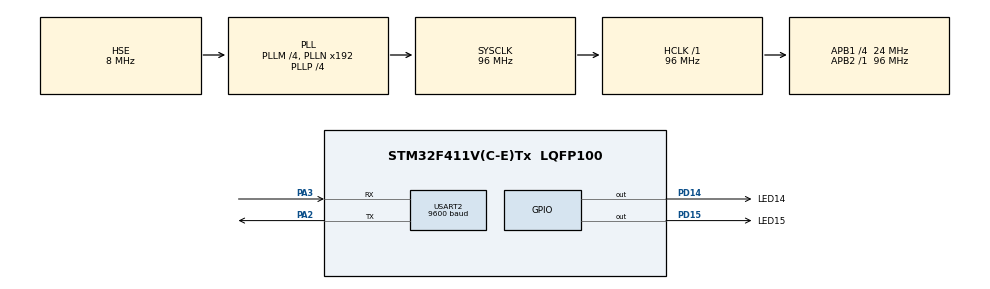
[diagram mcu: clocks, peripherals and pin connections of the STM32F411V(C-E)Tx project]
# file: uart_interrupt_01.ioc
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Mcu.Family=STM32F4
Mcu.Name=STM32F411V(C-E)Tx
Mcu.Package=LQFP100
NVIC.PriorityGroup=NVIC_PRIORITYGROUP_0
PA2.Mode=Asynchronous
PA2.Signal=USART2_TX
PA3.Mode=Asynchronous
PA3.Signal=USART2_RX
PD14.GPIO_Label=LED14
PD14.Signal=GPIO_Output
PD15.GPIO_Label=LED15
PD15.Signal=GPIO_Output
PH0\ -\ OSC_IN.Mode=HSE-External-Oscillator
PH0\ -\ OSC_IN.Signal=RCC_OSC_IN
PH1\ -\ OSC_OUT.Mode=HSE-External-Oscillator
PH1\ -\ OSC_OUT.Signal=RCC_OSC_OUT
ProjectManager.HeapSize=0x200
ProjectManager.StackSize=0x400
ProjectManager.TargetToolchain=STM32CubeIDE
RCC.48MHZClocksFreq_Value=48000000
RCC.AHBFreq_Value=96000000
RCC.APB1CLKDivider=RCC_HCLK_DIV4
RCC.APB1Freq_Value=24000000
RCC.APB1TimFreq_Value=48000000
RCC.APB2Freq_Value=96000000
RCC.APB2TimFreq_Value=96000000
RCC.CortexFreq_Value=96000000
RCC.HCLKFreq_Value=96000000
RCC.HSE_VALUE=8000000
RCC.HSI_VALUE=16000000
RCC.LSE_VALUE=32768
RCC.PLLI2SM=5
RCC.PLLI2SN=200
RCC.PLLM=4
RCC.PLLP=RCC_PLLP_DIV4
RCC.PLLQ=8
RCC.PLLSourceVirtual=RCC_PLLSOURCE_HSE
RCC.SYSCLKFreq_VALUE=96000000
RCC.SYSCLKSource=RCC_SYSCLKSOURCE_PLLCLK
RCC.VCOOutputFreq_Value=384000000
USART2.BaudRate=9600
USART2.VirtualMode=VM_ASYNC
board=STM32F411E-DISCO

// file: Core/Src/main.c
/* USER CODE BEGIN Header */
/**
  ******************************************************************************
  * @file           : main.c
  * @brief          : Main program body
  ******************************************************************************
  * @attention
  *
  * Copyright (c) 2024 STMicroelectronics.
  * All rights reserved.
  *
  * This software is licensed under terms that can be found in the LICENSE file
  * in the root directory of this software component.
  * If no LICENSE file comes with this software, it is provided AS-IS.
  *
  ******************************************************************************
  */
/* USER CODE END Header */
#include "main.h"

/* USER CODE BEGIN PD */
#define BUFFER_SIZE 256
/* USER CODE END PD */

UART_HandleTypeDef huart2;

/* USER CODE BEGIN PV */
uint32_t data_rx=0;
uint32_t rx_data = 0;
uint32_t array5[5];
uint8_t control=0;
uint8_t lenght=0;
uint32_t show1=0;
char name='R';
uint32_t gelen_data = 0;
uint32_t data_14 = 0;
uint32_t data_TXE=1;

/* USER CODE END PV */

void SystemClock_Config(void);
static void MX_GPIO_Init(void);
static void MX_USART2_UART_Init(void);

int main(void)
{

  /* MCU Configuration--------------------------------------------------------*/

  /* Reset of all peripherals, Initializes the Flash interface and the Systick. */
  HAL_Init();

  /* Configure the system clock */
  SystemClock_Config();

  /* Initialize all configured peripherals */
  MX_GPIO_Init();
  MX_USART2_UART_Init();
  /* USER CODE BEGIN 2 */

  /* 4- Enable UART Receive Data Register Not Empty */
   //SET_BIT(USART2->CR1, USART_CR1_RXNEIE);
   USART2->CR1 |= USART_CR1_RXNEIE;

   SET_BIT(USART2->CR1, USART_CR1_TXEIE);

   /* 5 - Enable UART Interrupt in NVIC */

    HAL_NVIC_SetPriority(USART2_IRQn, 0, 0);
    HAL_NVIC_EnableIRQ(USART2_IRQn);

  /* USER CODE END 2 */

  /* Infinite loop */
  while (1)
  {

    /* USER CODE BEGIN 3 */
	  //USART2->DR='G';
	  //HAL_Delay(1000);

	 //data_rx = USART2->DR;

	  //HAL_GPIO_WritePin(LED15_GPIO_Port,LED15_Pin, GPIO_PIN_SET);
  }
  /* USER CODE END 3 */
}

void SystemClock_Config(void)
{
  RCC_OscInitTypeDef RCC_OscInitStruct = {0};
  RCC_ClkInitTypeDef RCC_ClkInitStruct = {0};

  /** Configure the main internal regulator output voltage
  */
  __HAL_RCC_PWR_CLK_ENABLE();
  __HAL_PWR_VOLTAGESCALING_CONFIG(PWR_REGULATOR_VOLTAGE_SCALE1);

  /** Initializes the RCC Oscillators according to the specified parameters
  * in the RCC_OscInitTypeDef structure.
  */
  RCC_OscInitStruct.OscillatorType = RCC_OSCILLATORTYPE_HSE;
  RCC_OscInitStruct.HSEState = RCC_HSE_ON;
  RCC_OscInitStruct.PLL.PLLState = RCC_PLL_ON;
  RCC_OscInitStruct.PLL.PLLSource = RCC_PLLSOURCE_HSE;
  RCC_OscInitStruct.PLL.PLLM = 4;
  RCC_OscInitStruct.PLL.PLLN = 192;
  RCC_OscInitStruct.PLL.PLLP = RCC_PLLP_DIV4;
  RCC_OscInitStruct.PLL.PLLQ = 8;
  if (HAL_RCC_OscConfig(&RCC_OscInitStruct) != HAL_OK)
  {
    Error_Handler();
  }

  /** Initializes the CPU, AHB and APB buses clocks
  */
  RCC_ClkInitStruct.ClockType = RCC_CLOCKTYPE_HCLK|RCC_CLOCKTYPE_SYSCLK
                              |RCC_CLOCKTYPE_PCLK1|RCC_CLOCKTYPE_PCLK2;
  RCC_ClkInitStruct.SYSCLKSource = RCC_SYSCLKSOURCE_PLLCLK;
  RCC_ClkInitStruct.AHBCLKDivider = RCC_SYSCLK_DIV1;
  RCC_ClkInitStruct.APB1CLKDivider = RCC_HCLK_DIV4;
  RCC_ClkInitStruct.APB2CLKDivider = RCC_HCLK_DIV1;

  if (HAL_RCC_ClockConfig(&RCC_ClkInitStruct, FLASH_LATENCY_3) != HAL_OK)
  {
    Error_Handler();
  }
}

static void MX_USART2_UART_Init(void)
{

  huart2.Instance = USART2;
  huart2.Init.BaudRate = 9600;
  huart2.Init.WordLength = UART_WORDLENGTH_8B;
  huart2.Init.StopBits = UART_STOPBITS_1;
  huart2.Init.Parity = UART_PARITY_NONE;
  huart2.Init.Mode = UART_MODE_TX_RX;
  huart2.Init.HwFlowCtl = UART_HWCONTROL_NONE;
  huart2.Init.OverSampling = UART_OVERSAMPLING_16;
  if (HAL_UART_Init(&huart2) != HAL_OK)
  {
    Error_Handler();
  }

}

static void MX_GPIO_Init(void)
{
  GPIO_InitTypeDef GPIO_InitStruct = {0};

  /* GPIO Ports Clock Enable */
  __HAL_RCC_GPIOH_CLK_ENABLE();
  __HAL_RCC_GPIOA_CLK_ENABLE();
  __HAL_RCC_GPIOD_CLK_ENABLE();

  /*Configure GPIO pin Output Level */
  HAL_GPIO_WritePin(GPIOD, LED14_Pin|LED15_Pin, GPIO_PIN_RESET);

  /*Configure GPIO pins : LED14_Pin LED15_Pin */
  GPIO_InitStruct.Pin = LED14_Pin|LED15_Pin;
  GPIO_InitStruct.Mode = GPIO_MODE_OUTPUT_PP;
  GPIO_InitStruct.Pull = GPIO_NOPULL;
  GPIO_InitStruct.Speed = GPIO_SPEED_FREQ_LOW;
  HAL_GPIO_Init(GPIOD, &GPIO_InitStruct);

}

/* USER CODE BEGIN 4 */

void USART2_IRQHandler(void) {
	uint32_t isrflags = USART2->SR;
	uint32_t control_reg1 = USART2->CR1;
	 //data_TXE = USART2->SR & USART_SR_TXE;
	 data_TXE = USART2->CR1 & USART_CR1_TCIE;
	 while(data_TXE !=0){
		 HAL_GPIO_WritePin(LED15_GPIO_Port,LED15_Pin,GPIO_PIN_SET);
	 }
	//data_TXE = USART2->SR & USART_SR_TC;
	 if(data_TXE ==1){
		 HAL_GPIO_WritePin(LED15_GPIO_Port,LED15_Pin,GPIO_PIN_SET);
	 }
	/* UART in mode Receiver */
	if (((isrflags & USART_SR_RXNE) != RESET) && ((control_reg1 & USART_CR1_RXNEIE) != RESET)) {
		HAL_GPIO_TogglePin(LED14_GPIO_Port,LED14_Pin);
		rx_data = (uint8_t) USART2->DR;
		if(control>=0 && (control<5)){
		array5[control]=rx_data;
		control++;
		} else {
			control = 0;
			array5[control] = rx_data;
		}

		if (rx_data == 'A') {
			lenght = sizeof(array5) / sizeof(array5[0]);
			HAL_GPIO_WritePin(LED15_GPIO_Port,LED15_Pin,GPIO_PIN_SET);
			//time1();
			//HAL_GPIO_WritePin(LED15_GPIO_Port,LED15_Pin,GPIO_PIN_RESET);
			while ((USART2->SR & USART_SR_TXE) == 0)
				;
			USART2->DR = 'K';
			while ((USART2->SR & USART_SR_TXE) == 0)
				;
			USART2->DR = 'T';
			while ((USART2->SR & USART_SR_TXE) == 0)
				;
			USART2->DR = 'E';
			while ((USART2->SR & USART_SR_TXE) == 0)
				;
			USART2->DR = 'P';
		}

		else if (rx_data == 'B') {
			HAL_GPIO_WritePin(LED15_GPIO_Port, LED15_Pin, GPIO_PIN_RESET);
		}
		return;
	}

	/* UART in mode Transmitter */
	if (((isrflags & USART_SR_TXE) != RESET) && ((control_reg1 & USART_CR1_TXEIE) != RESET)) {
		USART2->CR1 &=~(USART_CR1_TXEIE);

		HAL_GPIO_WritePin(LED14_GPIO_Port,LED14_Pin,GPIO_PIN_SET);
		gelen_data = USART2->DR;
		if(gelen_data == 51){
		HAL_GPIO_WritePin(LED15_GPIO_Port,LED15_Pin,GPIO_PIN_SET);

		//USART2->CR1 |= USART_CR1_RXNEIE;
		//USART2->CR1 &=~(USART_CR1_TXEIE);
		}
		return;
	}
}

void time1(void){
	for (int var = 0; var < 10000000; ++var) {

	}
}

/* USER CODE END 4 */

void Error_Handler(void)
{
  __disable_irq();
  while (1)
  {
  }
}
